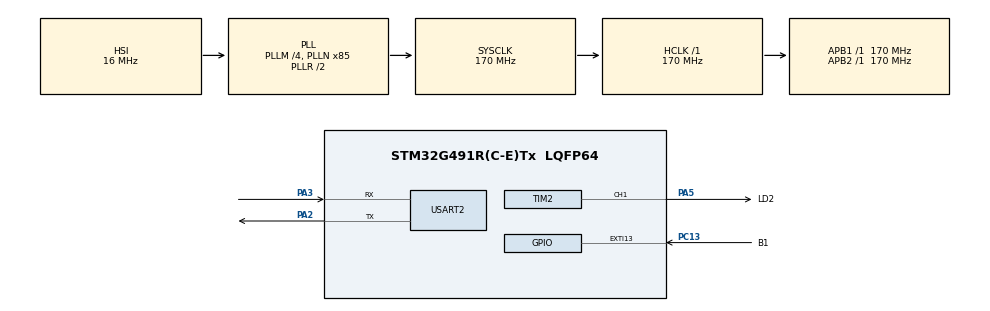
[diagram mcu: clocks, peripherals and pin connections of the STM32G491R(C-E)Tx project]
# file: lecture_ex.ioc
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Dma.Request0=USART2_RX
Dma.USART2_RX.0.Direction=DMA_PERIPH_TO_MEMORY
Dma.USART2_RX.0.EventEnable=DISABLE
Dma.USART2_RX.0.Instance=DMA1_Channel1
Dma.USART2_RX.0.MemDataAlignment=DMA_MDATAALIGN_BYTE
Dma.USART2_RX.0.MemInc=DMA_MINC_ENABLE
Dma.USART2_RX.0.Mode=DMA_CIRCULAR
Dma.USART2_RX.0.PeriphDataAlignment=DMA_PDATAALIGN_BYTE
Dma.USART2_RX.0.PeriphInc=DMA_PINC_DISABLE
Dma.USART2_RX.0.Polarity=HAL_DMAMUX_REQ_GEN_RISING
Dma.USART2_RX.0.Priority=DMA_PRIORITY_LOW
Dma.USART2_RX.0.RequestNumber=1
Dma.USART2_RX.0.SignalID=NONE
Dma.USART2_RX.0.SyncEnable=DISABLE
Dma.USART2_RX.0.SyncPolarity=HAL_DMAMUX_SYNC_NO_EVENT
Dma.USART2_RX.0.SyncRequestNumber=1
Dma.USART2_RX.0.SyncSignalID=NONE
Mcu.Family=STM32G4
Mcu.Name=STM32G491R(C-E)Tx
Mcu.Package=LQFP64
NVIC.DMA1_Channel1_IRQn=true\:0\:0\:false\:false\:true\:false\:true\:true
NVIC.EXTI15_10_IRQn=true\:0\:0\:false\:false\:true\:true\:true\:true
NVIC.PriorityGroup=NVIC_PRIORITYGROUP_4
NVIC.TIM6_DAC_IRQn=true\:0\:0\:false\:false\:true\:true\:true\:true
NVIC.TIM7_IRQn=true\:0\:0\:false\:false\:true\:true\:true\:true
NVIC.USART2_IRQn=true\:0\:0\:false\:false\:true\:true\:true\:true
PA13.GPIO_Label=T_SWDIO
PA13.Signal=SYS_JTMS-SWDIO
PA14.GPIO_Label=T_SWCLK
PA14.Signal=SYS_JTCK-SWCLK
PA2.Mode=Asynchronous
PA2.Signal=USART2_TX
PA3.Mode=Asynchronous
PA3.Signal=USART2_RX
PA5.GPIO_Label=LD2
PA5.Signal=S_TIM2_CH1
PB3.GPIO_Label=T_SWO
PB3.Signal=SYS_JTDO-SWO
PC13.GPIO_Label=B1
PC13.GPIO_PuPd=GPIO_PULLDOWN
PC13.Signal=GPXTI13
PC14-OSC32_IN.GPIO_Label=RCC_OSC32_IN
PC14-OSC32_IN.Signal=RCC_OSC32_IN
PC15-OSC32_OUT.GPIO_Label=RCC_OSC32_OUT
PC15-OSC32_OUT.Signal=RCC_OSC32_OUT
PF0-OSC_IN.GPIO_Label=RCC_OSC_IN
PF0-OSC_IN.Signal=RCC_OSC_IN
PF1-OSC_OUT.GPIO_Label=RCC_OSC_OUT
PF1-OSC_OUT.Signal=RCC_OSC_OUT
ProjectManager.HeapSize=0x200
ProjectManager.StackSize=0x400
ProjectManager.TargetToolchain=STM32CubeIDE
RCC.ADC12Freq_Value=170000000
RCC.ADC345Freq_Value=170000000
RCC.AHBFreq_Value=170000000
RCC.APB1Freq_Value=170000000
RCC.APB1TimFreq_Value=170000000
RCC.APB2Freq_Value=170000000
RCC.APB2TimFreq_Value=170000000
RCC.CortexFreq_Value=170000000
RCC.EXTERNAL_CLOCK_VALUE=12288000
RCC.HCLKFreq_Value=170000000
RCC.HSE_VALUE=24000000
RCC.HSI48_VALUE=48000000
RCC.HSI_VALUE=16000000
RCC.LSE_VALUE=32768
RCC.PLLM=RCC_PLLM_DIV4
RCC.PLLN=85
RCC.RTCClockSelection=RCC_RTCCLKSOURCE_LSE
RCC.SYSCLKFreq_VALUE=170000000
RCC.SYSCLKSource=RCC_SYSCLKSOURCE_PLLCLK
RCC.USBFreq_Value=48000000
RCC.VCOOutputFreq_Value=340000000
SH.S_TIM2_CH1.0=TIM2_CH1,PWM Generation1 CH1
TIM2.Channel-PWM\ Generation1\ CH1=TIM_CHANNEL_1
TIM2.PeriodNoDither=1000 - 1
TIM2.Prescaler=170 - 1
TIM6.PeriodNoDither=9999
TIM6.Prescaler=16999
TIM7.PeriodNoDither=9
TIM7.Prescaler=16999
USART2.VirtualMode-Asynchronous=VM_ASYNC
VP_SYS_VS_DBSignals.Mode=DisableDeadBatterySignals
VP_TIM2_VS_ClockSourceINT.Mode=Internal
VP_TIM6_VS_ClockSourceINT.Mode=Enable_Timer
VP_TIM7_VS_ClockSourceINT.Mode=Enable_Timer
board=NUCLEO-G491RE

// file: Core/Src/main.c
/* USER CODE BEGIN Header */
/**
 ******************************************************************************
 * @file           : main.c
 * @brief          : Main program body
 ******************************************************************************
 * @attention
 *
 * Copyright (c) 2026 STMicroelectronics.
 * All rights reserved.
 *
 * This software is licensed under terms that can be found in the LICENSE file
 * in the root directory of this software component.
 * If no LICENSE file comes with this software, it is provided AS-IS.
 *
 ******************************************************************************
 */
/* USER CODE END Header */
#include "main.h"
#include "dma.h"
#include "tim.h"
#include "usart.h"
#include "gpio.h"

/* USER CODE BEGIN Includes */
#include "ring_buffer.h"
#include "string.h"
#include "stdio.h"
#include <stdlib.h>
/* USER CODE END Includes */

/* USER CODE BEGIN PD */
#define DMA_RX_BUF_SIZE 16
/* USER CODE END PD */

/* USER CODE BEGIN PV */
RingBuffer_t RB;
char tx_buffer[256];
/* USER CODE END PV */

void SystemClock_Config(void);
/* USER CODE BEGIN PFP */
void UART_SendString(char* str);

/* USER CODE END PFP */

/* USER CODE BEGIN 0 */
#include "ring_buffer.h"
#include <string.h>
#include <stdio.h>

// zegar timer 7
volatile uint32_t sys_tick = 0;

// zmienne do przechowywania czasu wykonania ostatniego zadania
uint32_t last_led_toggle = 0;
uint32_t last_log_send = 0;

//zmienne do parsera komend
uint8_t led_task_enabled = 1;
uint32_t blink_delay = 500;
uint8_t button_mode = 0;
char line_buffer[64];
uint8_t line_pos = 0;

//przycisk
uint8_t btn_prev = 0;
uint32_t btn_press_time = 0;
uint32_t last_click_time = 0;
uint8_t click_count = 0;

//pwm
uint8_t pwm_mode_enabled = 0;
uint8_t pwm_duty = 0;
uint8_t pwm_ramp_dir = 1;
uint8_t pwm_ramp_active = 0;
uint32_t last_pwm_ramp = 0;
uint8_t fake_led_state = 0;

//losowe rzeczy na full projekt (zadanie 2200ms)
uint32_t last_2200ms_task = 0;
uint8_t special_blink_step = 0;
uint32_t last_special_blink = 0;

//zmienne do statystyk dma/uart
uint32_t total_rx_bytes = 0;
uint32_t total_overruns = 0;

//zmienne do jakiś błędów
uint8_t error_code = 0;        //ile razy ma mrugnac (1=zly poczatek, 2=zla druga czesc, 3=nieznana, 4=niekompletna)
uint32_t last_error_blink = 0; //stoper do mrugania bledu
uint8_t error_blink_step = 0;  //ktory krok szybkiego mrugania aktualnie leci

//zmienne coś tam
uint8_t rx_buffer[DMA_RX_BUF_SIZE];
volatile uint8_t rx_done = 0;
volatile uint16_t dma_old_pos = 0;

/* USER CODE END 0 */

int main(void)
{

  /* MCU Configuration--------------------------------------------------------*/

  /* Reset of all peripherals, Initializes the Flash interface and the Systick. */
  HAL_Init();

  /* Configure the system clock */
  SystemClock_Config();

  /* Initialize all configured peripherals */
  MX_GPIO_Init();
  MX_DMA_Init();
  MX_TIM6_Init();
  MX_USART2_UART_Init();
  MX_TIM7_Init();
  MX_TIM2_Init();
  /* USER CODE BEGIN 2 */
	HAL_TIM_Base_Start_IT(&htim6);
	HAL_TIM_Base_Start_IT(&htim7);

	HAL_TIM_PWM_Start(&htim2, TIM_CHANNEL_1);

//	HAL_UARTEx_ReceiveToIdle_DMA(&huart2, pData, Size)

//	uint8_t i = 0;
//	for(i = 0; i < 4; i++){
//		RB_Write(&RB, i);
//	}

//	DMA
	HAL_UART_Receive_DMA(&huart2, rx_buffer, sizeof(rx_buffer));
	__HAL_UART_ENABLE_IT(&huart2, UART_IT_IDLE);
  /* USER CODE END 2 */

  /* Infinite loop */
  /* USER CODE BEGIN WHILE */
	while (1) {

			UART_DMA_IdleCheck();

			//OBSLUGA RAMPY PWM (komenda: pwm toggle)
			if (pwm_mode_enabled == 1 && pwm_ramp_active == 1) {
				//co 15ms krok o 1%
				if ((sys_tick - last_pwm_ramp) >= 15) {
					last_pwm_ramp = sys_tick;
					if (pwm_ramp_dir == 1) {
						pwm_duty++;
						if (pwm_duty >= 100) {
							//zawrot w dol
							pwm_ramp_dir = 0;
						}
					} else {
						if (pwm_duty > 0) {
							pwm_duty--;
						}
						if (pwm_duty == 0) {
							//zawrot w gore
							pwm_ramp_dir = 1;
						}
					}
					__HAL_TIM_SET_COMPARE(&htim2, TIM_CHANNEL_1, pwm_duty * 10);
				}
			}

			//sprawdzamy czy minelo 2200ms (to dziwne zadanie z pdfa)
			if ((sys_tick - last_2200ms_task) >= 2200) {
				last_2200ms_task = sys_tick;
				//odpalamy szybkie mruganie tylko jak nie bawimy sie akurat pwm'em
				if (pwm_mode_enabled == 0) {
					special_blink_step = 1;
				}
			}

			//zad1 - mruganie diodą (podzielone zeby sie nie gryzlo na jednej diodzie)
			if (error_code > 0) {
				//jak jest błąd to mrugamy na maksa jasno (wazniejsze niz inne mrugania)
				if ((sys_tick - last_error_blink) >= 150) {
					last_error_blink = sys_tick;
					fake_led_state = !fake_led_state;
					__HAL_TIM_SET_COMPARE(&htim2, TIM_CHANNEL_1, fake_led_state ? 1000 : 0);
					error_blink_step++;

					if (error_blink_step >= (error_code * 2)) {
						error_code = 0;
						error_blink_step = 0;
						fake_led_state = 0;
						__HAL_TIM_SET_COMPARE(&htim2, TIM_CHANNEL_1, 0); //gasimy
					}
				}
			} else if (special_blink_step > 0) {
				//szybkie podwojne mrugniecie co 2.2s
				if ((sys_tick - last_special_blink) >= 80) { //bardzo szybko zmienia stan
					last_special_blink = sys_tick;
					fake_led_state = !fake_led_state;
					__HAL_TIM_SET_COMPARE(&htim2, TIM_CHANNEL_1, fake_led_state ? 1000 : 0);
					special_blink_step++;

					if (special_blink_step > 4) { //4 zmiany stanu = 2 pelne mrugniecia
						special_blink_step = 0;
					}
				}
			} else {
				//zad1 - normalne mruganie dioda (jeśli zadne inne zadanie nie przejeło diody)
				if (led_task_enabled == 1 && pwm_mode_enabled == 0) {
					if ((sys_tick - last_led_toggle) >= blink_delay) {
						last_led_toggle = sys_tick;
						fake_led_state = !fake_led_state;
						__HAL_TIM_SET_COMPARE(&htim2, TIM_CHANNEL_1, fake_led_state ? 1000 : 0);
					}
				}
			}

			//zad2
			if ((sys_tick - last_log_send) >= 1000){
			  last_log_send =  sys_tick;

			  char log_msg[150];
			  sprintf(log_msg, ">> LOG: Czas=%lu, LED=%d, PWM=%d%%, Tryb_Btn=%s, OdstepLED=%lu ms\r\n", sys_tick, fake_led_state, pwm_mode_enabled ? pwm_duty : 0, button_mode ? "IRQ" : "POLL", blink_delay);
			  UART_SendString(log_msg);
			}

			//obsługa przycisku
			if (button_mode == 0) {
				//czytamy stan z pinu fizycznego
				GPIO_PinState btn_now = HAL_GPIO_ReadPin(B1_GPIO_Port, B1_Pin);

				//Wykrycie wcisniecia (zmienilo sie z 0 na 1)
				if (btn_now == GPIO_PIN_SET && btn_prev == GPIO_PIN_RESET) {
					btn_press_time = sys_tick;
				}
				//wykrycie puszczenia (zmienilo sie z 1 na 0)
				else if (btn_now == GPIO_PIN_RESET && btn_prev == GPIO_PIN_SET) {
					//ile ms trzymany przycisk
					uint32_t press_duration = sys_tick - btn_press_time;

					if (press_duration > 5000) {
						//jak trzymał więcej niż 5s to resetujemy do domyślnych ustawień
						blink_delay = 500;
						UART_SendString(">> Przycisk: HARD RESET ustawien (5s)\r\n");
					} else if (press_duration > 50) {
						//zwykłe kliknięcie (50ms żeby nie było zakłóceń /drgania)
						click_count++;
						//zapisujemy kiedy byl ten klik
						last_click_time = sys_tick;
					}
				}
				//aktualizacja histori
				btn_prev = btn_now;

				//jesli sa jakies klikniecia i minelo 400ms od ostatniego
				if (click_count > 0 && (sys_tick - last_click_time) > 400) {

					if (click_count == 1) {
						//mruga wolniej (zwiekszamy odstep)
						blink_delay += 100;
						UART_SendString(">> Przycisk: 1 klik (wolniejsze mruganie)\r\n");

					} else if (click_count == 2) {
						//mruga szybciej (zmniejszamy odstep)
						if (blink_delay > 100) blink_delay -= 100;
						UART_SendString(">> Przycisk: 2 kliki (szybsze mruganie)\r\n");

					}

					//zerujemy licznik klikow zeby nie spamowalo komunikatem co milisekunde
					click_count = 0;
				}
			}

			//parser komend
			uint8_t tmp_char;

			//dopóki w buforze są jakieś znaki to wyciągamy je jeden na raz
			while (RB_Read(&RB, &tmp_char) == RB_OK) {
				//jeżeli \n to mamy entera czyli całą komendę
				if (tmp_char == '\n') {
					line_buffer[line_pos] = '\0';

					//jesli ktos wcisnal sam Enter albo zrobil spacje na poczatku - NIEPOPRAWNY POCZATEK (1 mrugniecie)
					if (line_pos == 0 || line_buffer[0] == ' ') {
						error_code = 1;
					}
					//1. KOMENDY ZACZYNAJACYCH SIE OD "led "
					else if (strncmp(line_buffer, "led ", 4) == 0) {
						// manualny led wyłącza pwm
						pwm_mode_enabled = 0;
						pwm_ramp_active = 0;
						if (strcmp(line_buffer + 4, "off") == 0) {
							led_task_enabled = 0;
							fake_led_state = 0;
							__HAL_TIM_SET_COMPARE(&htim2, TIM_CHANNEL_1, 0);
							UART_SendString(">> wykonano: led wylaczony\r\n");
						}
						else if (strcmp(line_buffer + 4, "on") == 0) {
							led_task_enabled = 0;
							fake_led_state = 1;
							__HAL_TIM_SET_COMPARE(&htim2, TIM_CHANNEL_1, 1000);
							UART_SendString(">> wykonano: led wlaczony\r\n");
						}
						else if (strcmp(line_buffer + 4, "toggle") == 0) {
							led_task_enabled = 0;
							fake_led_state = !fake_led_state;
							__HAL_TIM_SET_COMPARE(&htim2, TIM_CHANNEL_1, fake_led_state ? 1000 : 0);
							UART_SendString(">> wykonano: led zrobil toggle\r\n");
						}
						else {
							//wpisal "led cos_nie_pasującego" -> BŁĘDNA DRUGA CZĘŚĆ KOMENDY (2 mrugniecia)
							error_code = 2;
							UART_SendString(">> ERROR: zla druga czesc komendy 'led'\r\n");
						}
					}
					else if (strcmp(line_buffer, "led") == 0) {
						//wpisal samo "led" bez parametru -> NIEKOMPLETNA KOMENDa (4 mrugniecia)
						error_code = 4;
						UART_SendString(">> ERROR: niekompletna komenda, brakuje parametru\r\n");
					}

					//5. KOMENDY DO PWM
					else if (strncmp(line_buffer, "pwm ", 4) == 0) {
						if (strcmp(line_buffer + 4, "off") == 0) {
							//wylacza tryb PWM (powrot do mrugania)
							pwm_mode_enabled = 0;
							pwm_ramp_active = 0;
							UART_SendString(">> wykonano: pwm off (powrot do mrugania)\r\n");
						}
						else if (strncmp(line_buffer + 4, "set ", 4) == 0) {
							//odczytaj wartosc i zrob zabezpieczenie do 100%
							pwm_duty = atoi(line_buffer + 8);
							if (pwm_duty > 100) pwm_duty = 100;

							//aktywujemy PWM
							pwm_mode_enabled = 1;
							//wylaczamy rampe jesli dzialala
							pwm_ramp_active = 0;

							//ustawienie jasności (nasze max to 1000, wiec procenty mnozymy x10)
							__HAL_TIM_SET_COMPARE(&htim2, TIM_CHANNEL_1, pwm_duty * 10);

							char msg[50];
							sprintf(msg, ">> wykonano: jasnosc pwm = %d%%\r\n", pwm_duty);
							UART_SendString(msg);
						}
						else if (strncmp(line_buffer + 4, "freq ", 5) == 0) {
							uint32_t freq = atoi(line_buffer + 9);
							//min 3Hz zeby preskaler (16-bit) nie wybuchł
							if (freq >= 3) {
								//170MHz zegar CPU / 1000 (nasz max duty) = 170000.
								uint32_t psc = (170000 / freq) - 1;
								__HAL_TIM_SET_PRESCALER(&htim2, psc);

								char msg[50];
								sprintf(msg, ">> wykonano: czestotliwosc pwm = %lu Hz\r\n", freq);
								UART_SendString(msg);
							} else {
								error_code = 5;
								UART_SendString(">> ERROR: czestotliwosc musi byc >= 3 Hz\r\n");
							}
						}
						else if (strcmp(line_buffer + 4, "toggle") == 0) {
							pwm_mode_enabled = 1;
							//wlacza/wylacza plynną rampe
							pwm_ramp_active = !pwm_ramp_active;
							UART_SendString(">> wykonano: przelaczono rampe pwm\r\n");
						}
						else {
							//zla druga czesc
							error_code = 2;
							UART_SendString(">> ERROR: zla druga czesc komendy 'pwm'\r\n");
						}
					}
					else if (strcmp(line_buffer, "pwm") == 0) {
						error_code = 4;
						UART_SendString(">> ERROR: niekompletna komenda 'pwm'\r\n");
					}

					//2. OBSLuga "button "
					else if (strncmp(line_buffer, "button ", 7) == 0) {
						if (strcmp(line_buffer + 7, "mode poll") == 0) {
							button_mode = 0;
							UART_SendString(">> Wykonano: Przycisk w trybie POLLING\r\n");
						}
						else if (strcmp(line_buffer + 7, "mode irq") == 0) {
							button_mode = 1;
							UART_SendString(">> Wykonano: Przycisk w trybie IRQ\r\n");
						}
						else {
							//bledna druga czesc
							error_code = 2;
							UART_SendString(">> ERROR: zla druga czesc komendy 'button'\r\n");
						}
					}
					else if (strcmp(line_buffer, "button") == 0 || strcmp(line_buffer, "button mode") == 0) {
						//niekompletna
						error_code = 4;
						UART_SendString(">> ERROR: niekompletna komenda button\r\n");
					}

					//3. OBSLUGA "gpio "
					else if (strncmp(line_buffer, "gpio ", 5) == 0) {
						if (strcmp(line_buffer + 5, "status") == 0) {
							char msg[100];
							//dla PWM pin LD2 nic mądrego nie zwróci z ReadPin, ale zostawiamy jak bylo
							GPIO_PinState btn_state = HAL_GPIO_ReadPin(B1_GPIO_Port, B1_Pin);
							sprintf(msg, ">> Status: LED(fake)=%d, PRZYCISK=%d, TRYB=%s\r\n", fake_led_state, btn_state, button_mode ? "IRQ" : "POLL");
							UART_SendString(msg);
						}
						else {
							//bledna druga czesc
							error_code = 2;
							UART_SendString(">> ERROR: zla druga czesc komendy 'gpio'\r\n");
						}
					}
					else if (strcmp(line_buffer, "gpio") == 0) {
						//niekompletna
						error_code = 4;
						UART_SendString(">> ERROR: niekompletna komenda\r\n");
					}

					//6. STATYSTYKI DMA I UART FLOOD
					else if (strcmp(line_buffer, "dma stat") == 0) {
						char msg[100];
						//pytamy sprzętowy kontroler DMA, gdzie aktualnie "stoi" jego wskaźnik zapisu
						uint16_t current_dma_pos = DMA_RX_BUF_SIZE - __HAL_DMA_GET_COUNTER(huart2.hdmarx);

						sprintf(msg, ">> DMA STAT: Bufor RX pos = %u, Odebrano = %lu B, Overruns = %lu\r\n",
								current_dma_pos, total_rx_bytes, total_overruns);
						UART_SendString(msg);
					}
					else if (strncmp(line_buffer, "uart flood ", 11) == 0) {
						uint32_t n = atoi(line_buffer + 11);
						//zabezpieczenie (limit do 100 sztuk), zeby nie zablokowac konsoli na wiecznosc
						if (n > 0 && n <= 100) {
							UART_SendString(">> Rozpoczynam UART FLOOD (Test DMA TX)...\r\n");
							char flood_msg[50];
							for (uint32_t i = 0; i < n; i++) {
								sprintf(flood_msg, ">> PAKIET FLOOD nr %lu (Lecimy z DMA!)\r\n", i + 1);
								UART_SendString(flood_msg);
							}
							UART_SendString(">> Zakonczono UART FLOOD.\r\n");
						} else {
							//jakis blad z pdfa (np. inne bledy parametrow)
							error_code = 5;
							UART_SendString(">> ERROR: Podaj liczbe od 1 do 100\r\n");
						}
					}
					else if (strcmp(line_buffer, "uart flood") == 0) {
						//niekompletna komenda
						error_code = 4;
						UART_SendString(">> ERROR: niekompletna komenda 'uart flood'\r\n");
					}

					//7. PAMIEC FLASH (Kasowanie, Zapis, Odczyt)
					else if (strncmp(line_buffer, "flash ", 6) == 0) {
						if (strcmp(line_buffer + 6, "erase") == 0) {
							UART_SendString(">> FLASH: Kasowanie bezpiecznej strony testowej..\r\n");
							 //Odblokowanie pamieci
							HAL_FLASH_Unlock();

							FLASH_EraseInitTypeDef erase_cfg;
							erase_cfg.TypeErase = FLASH_TYPEERASE_PAGES;
							erase_cfg.Banks = FLASH_BANK_1;
							//Ostatnia bezpieczna strona dla mikrokontrolera 512KB
							erase_cfg.Page = 255;
							erase_cfg.NbPages = 1;

							uint32_t page_error = 0;
							if (HAL_FLASHEx_Erase(&erase_cfg, &page_error) == HAL_OK) {
								UART_SendString(">> FLASH: Skasowano pomyslnie\r\n");
							} else {
								error_code = 5;
								UART_SendString(">> ERROR: Blad kasowania flash\r\n");
							}
							//zabezpieczenie pamieci
							HAL_FLASH_Lock();
						}
						else if (strncmp(line_buffer + 6, "write ", 6) == 0) {
							uint32_t addr = 0;
							uint32_t val = 0;
							//Funkcja sscanf wyciąga dwie liczby w formacie HEX ze stringa
							if (sscanf(line_buffer + 12, "%lx %lx", &addr, &val) == 2) {
								HAL_FLASH_Unlock();
								//STM32G4 wymaga programowania w paczkach 64-bitowych (Double Word)
								if (HAL_FLASH_Program(FLASH_TYPEPROGRAM_DOUBLEWORD, addr, (uint64_t)val) == HAL_OK) {
									UART_SendString(">> FLASH: Zapisano pomyslnie\r\n");
								} else {
									error_code = 5;
									UART_SendString(">> ERROR: Blad zapisu (zly adres lub brak 'erase')\r\n");
								}
								HAL_FLASH_Lock();
							} else {
								//zla druga czesc
								error_code = 2;
								UART_SendString(">> ERROR: Format to 'flash write <addr> <hex>'\r\n");
							}
						}
						else if (strncmp(line_buffer + 6, "read ", 5) == 0) {
							uint32_t addr = 0;
							uint32_t len = 0;
							if (sscanf(line_buffer + 11, "%lx %lu", &addr, &len) == 2) {
								//limit do 32 bajtow na raz, zeby nie zapchac pamieci tekstowej
								if (len > 32) len = 32;

								char msg[150];
								int offset = sprintf(msg, ">> ODCZYT 0x%08lX: ", addr);

								for (uint32_t i = 0; i < len; i++) {
									//bezposredni odczyt wartosci z fizycznego adresu pamieci
									uint8_t read_byte = *(volatile uint8_t*)(addr + i);
									offset += sprintf(msg + offset, "%02X ", read_byte);
								}
								//enter na sam koniec
								sprintf(msg + offset, "\r\n");
								UART_SendString(msg);
							} else {
								error_code = 2;
								UART_SendString(">> ERROR: Format to 'flash read <addr> <len>'\r\n");
							}
						}
						else {
							error_code = 2;
							UART_SendString(">> ERROR: Nieznana komenda flash (uzyj: erase, write, read)\r\n");
						}
					}
					else if (strcmp(line_buffer, "flash") == 0) {
						error_code = 4; //niekompletna komenda
						UART_SendString(">> ERROR: niekompletna komenda 'flash'\r\n");
					}

					//4. CALA RESZTA
					else {
						//jakaś nieznana komenda -> NIEZNANA KOMENDA (3 mrugniecia)
						error_code = 3;
						UART_SendString(">> ERROR: nieznana komenda (wpisz cos normalnego)\r\n");
					}

					//czyscimy pozycje
					line_pos = 0;
				}

				//znak to nie enter to dopisujemy literke
				else if (tmp_char != '\r'){
					//zabezpieczenie przed wyjściem poza rozmiar tablicy
					if(line_pos < 63){
						line_buffer[line_pos] = tmp_char;
						line_pos++;
					}
				}
			}
//		if(rx_done){
//			rx_done = 0;
//		}
//		uint8_t tmp;
//		for(i = 0; i < 2; i++){
//			RB_Read(&RB, &tmp);
//		}
//		RB_Flush(&RB);
    /* USER CODE END WHILE */

	}
}

void SystemClock_Config(void)
{
  RCC_OscInitTypeDef RCC_OscInitStruct = {0};
  RCC_ClkInitTypeDef RCC_ClkInitStruct = {0};

  /** Configure the main internal regulator output voltage
  */
  HAL_PWREx_ControlVoltageScaling(PWR_REGULATOR_VOLTAGE_SCALE1_BOOST);

  /** Initializes the RCC Oscillators according to the specified parameters
  * in the RCC_OscInitTypeDef structure.
  */
  RCC_OscInitStruct.OscillatorType = RCC_OSCILLATORTYPE_HSI;
  RCC_OscInitStruct.HSIState = RCC_HSI_ON;
  RCC_OscInitStruct.HSICalibrationValue = RCC_HSICALIBRATION_DEFAULT;
  RCC_OscInitStruct.PLL.PLLState = RCC_PLL_ON;
  RCC_OscInitStruct.PLL.PLLSource = RCC_PLLSOURCE_HSI;
  RCC_OscInitStruct.PLL.PLLM = RCC_PLLM_DIV4;
  RCC_OscInitStruct.PLL.PLLN = 85;
  RCC_OscInitStruct.PLL.PLLP = RCC_PLLP_DIV2;
  RCC_OscInitStruct.PLL.PLLQ = RCC_PLLQ_DIV2;
  RCC_OscInitStruct.PLL.PLLR = RCC_PLLR_DIV2;
  if (HAL_RCC_OscConfig(&RCC_OscInitStruct) != HAL_OK)
  {
    Error_Handler();
  }

  /** Initializes the CPU, AHB and APB buses clocks
  */
  RCC_ClkInitStruct.ClockType = RCC_CLOCKTYPE_HCLK|RCC_CLOCKTYPE_SYSCLK
                              |RCC_CLOCKTYPE_PCLK1|RCC_CLOCKTYPE_PCLK2;
  RCC_ClkInitStruct.SYSCLKSource = RCC_SYSCLKSOURCE_PLLCLK;
  RCC_ClkInitStruct.AHBCLKDivider = RCC_SYSCLK_DIV1;
  RCC_ClkInitStruct.APB1CLKDivider = RCC_HCLK_DIV1;
  RCC_ClkInitStruct.APB2CLKDivider = RCC_HCLK_DIV1;

  if (HAL_RCC_ClockConfig(&RCC_ClkInitStruct, FLASH_LATENCY_4) != HAL_OK)
  {
    Error_Handler();
  }
}

/* USER CODE BEGIN 4 */

//nowy wysyłacz dma
void UART_SendString(char* str) {
//	//1. Czekamy aż poprzednie DMA skończy nadawać (żeby nie nadpisać bufora w trakcie)
//	//Uwaga: minimalnie to blokuje jeśli spamujemy, ale spełnia wymóg użycia DMA dla TX
//	while (huart2.gState != HAL_UART_STATE_READY) {}
//
//	//2. Kopiujemy tekst z bezpiecznego miejsca do naszego globalnego bufora
//	strncpy(tx_buffer, str, 255);
//	tx_buffer[255] = '\0'; //upewniamy się, że na końcu jest znak końca stringa
//
//	//3. Odpalamy sprzętowe wysyłanie w tle!
//	HAL_UART_Transmit_DMA(&huart2, (uint8_t*)tx_buffer, strlen(tx_buffer));
	//jebać tamto nie działało
	//test
	HAL_UART_Transmit(&huart2, (uint8_t*)str, strlen(str), 100);
}

void HAL_TIM_PeriodElapsedCallback(TIM_HandleTypeDef *htim) {
	if (htim->Instance == TIM6) {
		// HAL_GPIO_TogglePin(LD2_GPIO_Port, LD2_Pin);

	}
	if (htim->Instance == TIM7) {
		sys_tick = sys_tick + 1;
	}
}

void HAL_UART_RxCpltCallback(UART_HandleTypeDef *huart){
	if(huart->Instance == USART2){
		rx_done = 1;
	}
}

void UART_DMA_IdleCheck(void){
	uint16_t pos = DMA_RX_BUF_SIZE - __HAL_DMA_GET_COUNTER(huart2.hdmarx);
		if(pos != dma_old_pos){
			if(pos > dma_old_pos){
				for(uint16_t i = dma_old_pos; i < pos; i++){
					if (RB_Write(&RB, rx_buffer[i]) == RB_OK) total_rx_bytes++;
					else total_overruns++;
				}
			}else{
				for(uint16_t i = dma_old_pos; i < DMA_RX_BUF_SIZE; i++){
					if (RB_Write(&RB, rx_buffer[i]) == RB_OK) total_rx_bytes++;
					else total_overruns++;
				}
				for(uint16_t i = 0; i < pos; i++){
					if (RB_Write(&RB, rx_buffer[i]) == RB_OK) total_rx_bytes++;
					else total_overruns++;
				}
			}
			dma_old_pos = pos;
		}
}
/* USER CODE END 4 */

void Error_Handler(void)
{
	__disable_irq();
	while (1) {
	}
}
